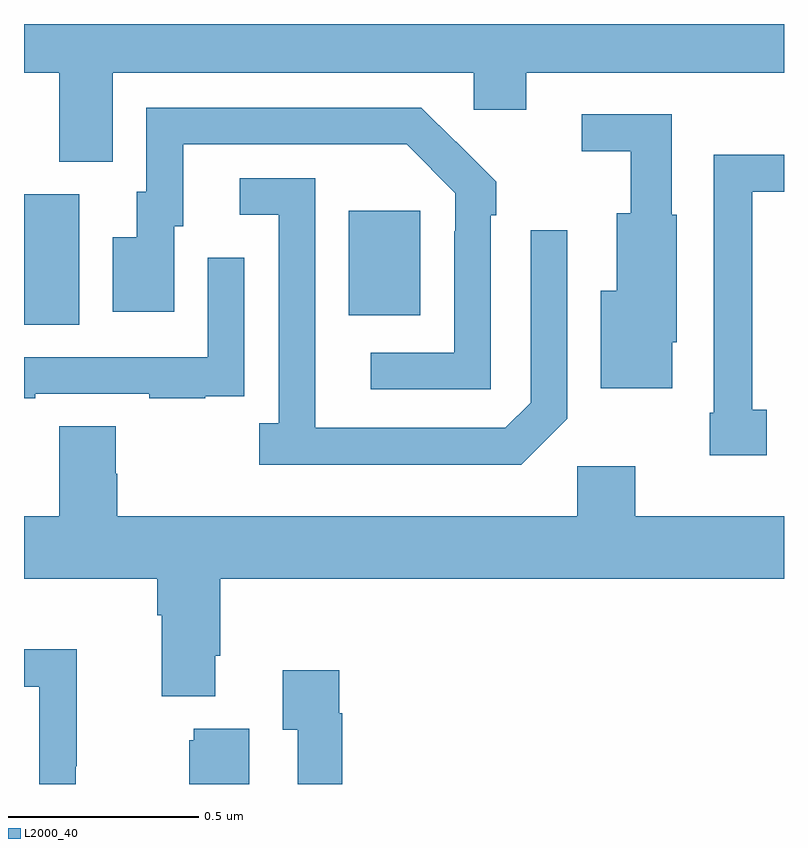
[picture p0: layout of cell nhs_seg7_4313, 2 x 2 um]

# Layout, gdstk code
import gdstk
lib = gdstk.Library(unit=1e-6, precision=1e-09)
def R(c, l, rs):  # rectangles x0, y0, x1, y1
    for r in rs: c.add(gdstk.rectangle(r[:2], r[2:], *l))
def P(c, l, *ps):  # polygons
    for p in ps: c.add(gdstk.Polygon(p, *l))
L2000_40 = (2000, 40)

nhs_seg7_4313 = lib.new_cell('nhs_seg7_4313')
R(nhs_seg7_4313, L2000_40, [(170,1077.208,170.146,1077.552), (170.855,1077.233,171.043,1077.508)])
P(nhs_seg7_4313, L2000_40, [(170.233,1077.872),(171.183,1077.872),(171.183,1077.774),(171.322,1077.774),(171.322,1077.872),(172,1077.872),(172,1078),(170,1078),(170,1077.872),(170.093,1077.872),(170.093,1077.637),(170.233,1077.637)],
  [(171.228,1077.497),(171.243,1077.497),(171.243,1077.585),(171.138,1077.69),(171.137,1077.689),(171.046,1077.78),(170.322,1077.78),(170.322,1077.558),(170.297,1077.558),(170.297,1077.439),(170.234,1077.439),(170.234,1077.243),(170.395,1077.243),(170.395,1077.468),(170.419,1077.468),(170.419,1077.684),(171.007,1077.684),(171.135,1077.555),(171.135,1077.455),(171.132,1077.455),(171.132,1077.135),(170.913,1077.135),(170.913,1077.039),(171.228,1077.039)],
  [(171.706,1077.162),(171.718,1077.162),(171.718,1077.498),(171.705,1077.498),(171.705,1077.762),(171.468,1077.762),(171.468,1077.665),(171.597,1077.665),(171.597,1077.502),(171.56,1077.502),(171.56,1077.298),(171.518,1077.298),(171.518,1077.041),(171.706,1077.041)],
  [(171.955,1076.985),(171.916,1076.985),(171.916,1077.558),(172,1077.558),(172,1077.656),(171.815,1077.656),(171.815,1076.977),(171.805,1076.977),(171.805,1076.865),(171.955,1076.865)],
  [(171.429,1076.961),(171.429,1077.457),(171.333,1077.457),(171.333,1077.003),(171.267,1076.937),(170.767,1076.937),(170.767,1077.137),(170.766,1077.137),(170.766,1077.594),(170.568,1077.594),(170.568,1077.498),(170.67,1077.498),(170.67,1076.95),(170.619,1076.95),(170.619,1076.84),(171.308,1076.84)],
  [(170.029,1077.027),(170.329,1077.027),(170.329,1077.015),(170.477,1077.015),(170.477,1077.021),(170.579,1077.021),(170.579,1077.13),(170.58,1077.13),(170.58,1077.385),(170.484,1077.385),(170.484,1077.123),(170,1077.123),(170,1077.015),(170.029,1077.015)],
  [(170.503,1076.338),(170.516,1076.338),(170.516,1076.54),(172,1076.54),(172,1076.704),(171.608,1076.704),(171.608,1076.836),(171.456,1076.836),(171.456,1076.704),(170.246,1076.704),(170.246,1076.817),(170.241,1076.817),(170.241,1076.942),(170.093,1076.942),(170.093,1076.704),(170,1076.704),(170,1076.54),(170.351,1076.54),(170.351,1076.444),(170.363,1076.444),(170.363,1076.231),(170.503,1076.231)],
  [(170.136,1076.047),(170.139,1076.047),(170.139,1076.354),(170,1076.354),(170,1076.256),(170.04,1076.256),(170.04,1076),(170.136,1076)],
  [(170.837,1076.186),(170.83,1076.186),(170.83,1076.299),(170.681,1076.299),(170.681,1076.143),(170.721,1076.143),(170.721,1076),(170.837,1076)],
  [(170.593,1076.146),(170.447,1076.146),(170.447,1076.115),(170.435,1076.115),(170.435,1076),(170.593,1076)])

lib.write_gds('nhs_seg7_4313.gds')
